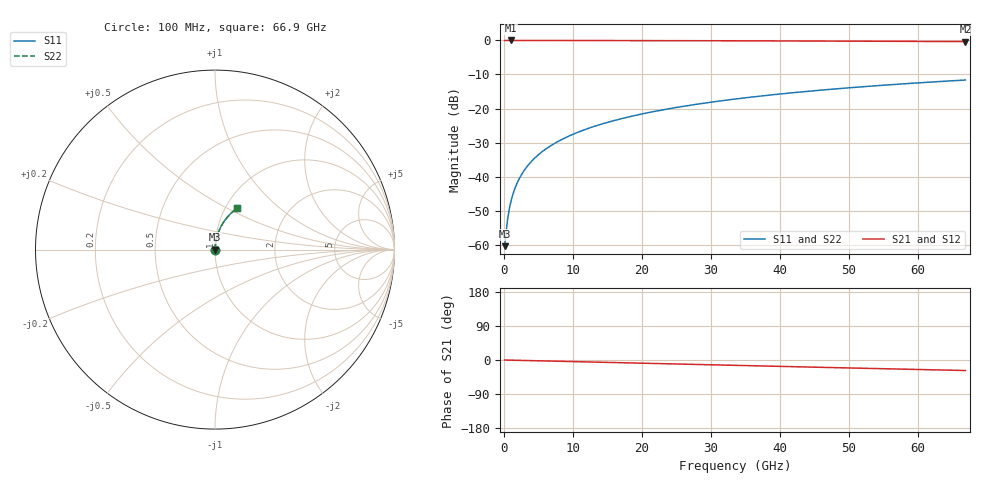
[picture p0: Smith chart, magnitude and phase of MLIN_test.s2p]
! Created with skrf (http://scikit-rf.org).
# Hz S RI R 50.0
!freq ReS11 ImS11 ReS21 ImS21 ReS12 ImS12 ReS22 ImS22
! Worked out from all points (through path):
!   669 points, 100 MHz to 66.9 GHz, reference 50 ohm
!   highest |S21| = -0.01 dB at 1 GHz (marker M1); lowest = -0.3 dB at 66.9 GHz (marker M2)
!   group delay of S21, straight-line fit = 1.16 ps
!   lowest |S11| = -60.4 dB at 100 MHz (marker M3), VSWR 1.00, Z = 50.1 + j0.0419 ohm
!   |S11| at or under -10 dB: start of sweep to end of sweep
!   |S22| runs from -60.4 to -11.6 dB; largest |S21 - S12| = 7.4e-14
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1e8  0.000856 0.000418  0.9991 -0.000743  0.9991 -0.000743  0.000856 0.000418
3e8  0.000796 0.00126  0.9992 -0.00223  0.9992 -0.00223  0.000796 0.00126
6e8  0.000731 0.00251  0.9993 -0.00446  0.9993 -0.00446  0.000731 0.00251
7e8  0.000725 0.00293  0.9993 -0.0052  0.9993 -0.0052  0.000725 0.00293
1e9  0.00071 0.00419  0.9993 -0.00743  0.9993 -0.00743  0.00071 0.00419
1.2e9  0.000736 0.00502  0.9992 -0.00892  0.9992 -0.00892  0.000736 0.00502
1.5e9  0.00078 0.00628  0.9992 -0.0111  0.9992 -0.0111  0.00078 0.00628
1.8e9  0.00083 0.00753  0.9991 -0.0134  0.9991 -0.0134  0.00083 0.00753
2.2e9  0.000904 0.00921  0.9991 -0.0163  0.9991 -0.0163  0.000904 0.00921
3.1e9  0.00111 0.013  0.9988 -0.023  0.9988 -0.023  0.00111 0.013
4.2e9  0.00143 0.0176  0.9984 -0.0312  0.9984 -0.0312  0.00143 0.0176
5.6e9  0.00195 0.0234  0.9978 -0.0416  0.9978 -0.0416  0.00195 0.0234
7.2e9  0.0027 0.03  0.997 -0.0534  0.997 -0.0534  0.0027 0.03
9.1e9  0.0038 0.0379  0.9957 -0.0674  0.9957 -0.0674  0.0038 0.0379
1.13e10  0.00532 0.047  0.9939 -0.0836  0.9939 -0.0836  0.00532 0.047
1.62e10  0.0097 0.0669  0.9888 -0.1195  0.9888 -0.1195  0.0097 0.0669
2.24e10  0.0172 0.0915  0.9799 -0.1642  0.9799 -0.1642  0.0172 0.0915
2.76e10  0.0252 0.1114  0.9706 -0.201  0.9706 -0.201  0.0252 0.1114
3.35e10  0.0359 0.1331  0.9578 -0.2418  0.9578 -0.2418  0.0359 0.1331
4.47e10  0.0609 0.171  0.9281 -0.3162  0.9281 -0.3162  0.0609 0.171
5.58e10  0.0909 0.2036  0.892 -0.3849  0.892 -0.3849  0.0909 0.2036
6.69e10  0.1249 0.2305  0.8505 -0.448  0.8505 -0.448  0.1249 0.2305
